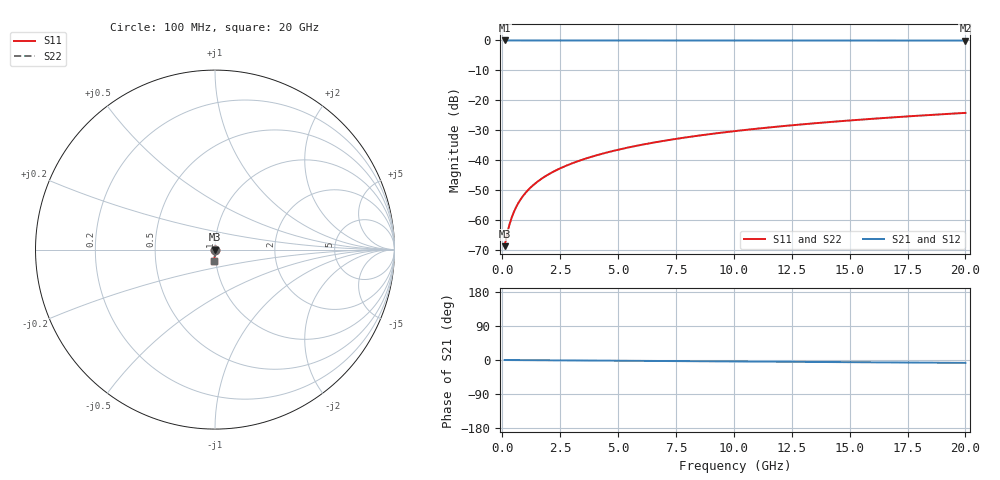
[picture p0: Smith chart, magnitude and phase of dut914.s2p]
! Touchstone file exported from HFSS 2026.1.0
!  File:  C:/ffzhzh/LocalFiles/Ansys_Project_Files/temp_train_TSV_914_1783186449_22436.aedt
!  Generated:  01:35:36 AM Jul  5, 2026
!  Design:  TSV
!  Project:  temp_train_TSV_914_1783186449_22436
! Variables:
!  h_bsmrdl = 2um
!  h_ox = 20um
!  h_rdl = 5um
!  h_sub = 73.33um
!  h_tmrdl = 5um
!  h_tsv = 73.33um
!  h_via = 3um
!  l_bsmrdl = 300um
!  l_sub = 412.1um
!  l_tmrdl = 200um
!  m_sub = 200um
!  pitch = 16.27um
!  r_tsv = 6.05um
!  s_tmrdl = 10um
!  w_bsmrdl = 18um
!  w_sub = 500um
!  w_tmrdl = 12um
!  x_tsv_center1 = 206um
!  x_tsv_center2 = 524um
!  x_tsv_center3 = 736um
!  x_tsv_center4 = 1054um
!  x_tsv_center5 = 1266um
!  x_tsv_center6 = 1584um
# GHz S MA R 50.000000
! Terminal data exported
! Port[1] = TSV1_1_T1
! Port[2] = TSV1_1_T2
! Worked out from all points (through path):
!   200 points, 100 MHz to 20 GHz, reference 50 ohm
!   highest |S21| = 0.00 dB at 100 MHz (marker M1); lowest = 0.0 dB at 20 GHz (marker M2)
!   group delay of S21, straight-line fit = 1.05 ps
!   lowest |S11| = -68.7 dB at 100 MHz (marker M3), VSWR 1.00, Z = 50 - j0.0235 ohm
!   |S11| at or under -10 dB: start of sweep to end of sweep
!   |S22| runs from -68.7 to -24.2 dB; largest |S21 - S12| = 3e-15
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0.1  0.0003666 -39.9  0.9997 -0.0  0.9997 -0.0  0.0003666 -39.9
! Gamma 0 0 0 0
! Port Impedance 50 0 50 0
0.2  0.0005715 -57.3  0.9997 -0.1  0.9997 -0.1  0.0005715 -57.3
0.3  0.0008181 -65.0  0.9997 -0.1  0.9997 -0.1  0.0008181 -65.0
0.4  0.001086 -69.3  0.9996 -0.2  0.9996 -0.2  0.001086 -69.3
0.5  0.001367 -72.2  0.9996 -0.2  0.9996 -0.2  0.001367 -72.2
0.6  0.001656 -74.3  0.9995 -0.2  0.9995 -0.2  0.001656 -74.3
0.8  0.002243 -77.3  0.9995 -0.3  0.9995 -0.3  0.002243 -77.3
1.1  0.003133 -80.1  0.9994 -0.4  0.9994 -0.4  0.003133 -80.1
1.3  0.003728 -81.4  0.9994 -0.5  0.9994 -0.5  0.003728 -81.4
1.5  0.004323 -82.4  0.9994 -0.6  0.9994 -0.6  0.004323 -82.4
1.8  0.005217 -83.5  0.9993 -0.7  0.9993 -0.7  0.005217 -83.5
2.1  0.006114 -84.3  0.9993 -0.8  0.9993 -0.8  0.006114 -84.3
2.7  0.007916 -85.4  0.9992 -1.1  0.9992 -1.1  0.007916 -85.4
3.5  0.01034 -86.4  0.9991 -1.4  0.9991 -1.4  0.01034 -86.4
4.2  0.01248 -87.1  0.9989 -1.6  0.9989 -1.6  0.01248 -87.1
5  0.01494 -87.7  0.9988 -1.9  0.9988 -1.9  0.01494 -87.7
6.8  0.02052 -89.0  0.9985 -2.6  0.9985 -2.6  0.02052 -89.0
8.3  0.02519 -89.9  0.9982 -3.2  0.9982 -3.2  0.02519 -89.9
10.1  0.03081 -90.9  0.9979 -3.9  0.9979 -3.9  0.03081 -90.9
13.4  0.0411 -92.6  0.9973 -5.1  0.9973 -5.1  0.0411 -92.6
16.7  0.0514 -94.1  0.9966 -6.4  0.9966 -6.4  0.0514 -94.1
20  0.06169 -95.5  0.9958 -7.6  0.9958 -7.6  0.06169 -95.5
